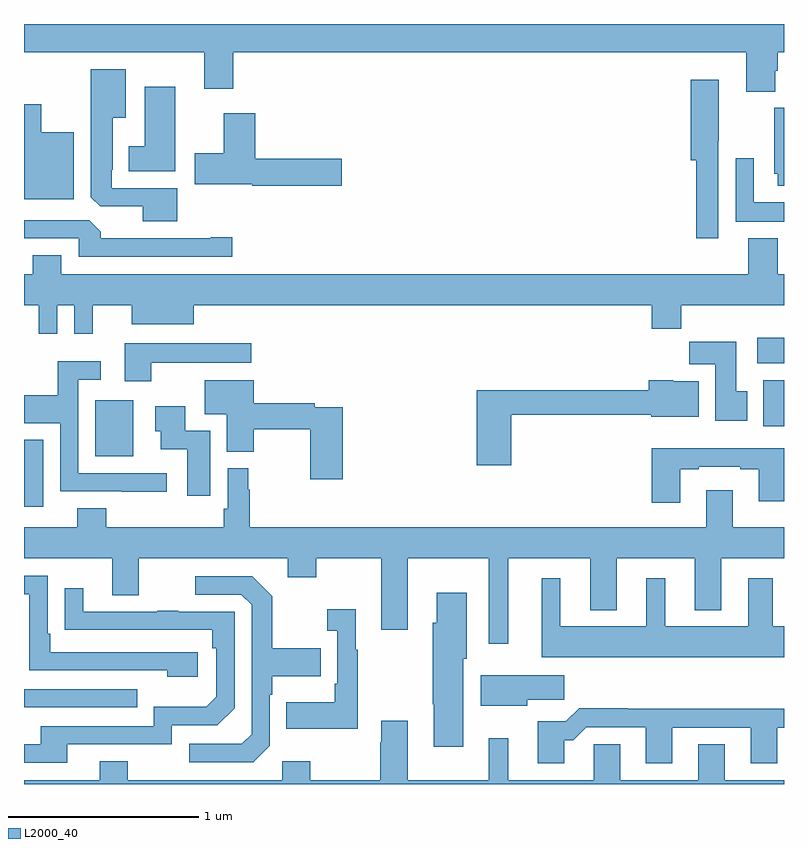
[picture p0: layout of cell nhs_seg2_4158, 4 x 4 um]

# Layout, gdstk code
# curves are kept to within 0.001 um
import gdstk
lib = gdstk.Library(unit=1e-6, precision=1e-09)
def R(c, l, rs):  # rectangles x0, y0, x1, y1
    for r in rs: c.add(gdstk.rectangle(r[:2], r[2:], *l))
def P(c, l, *ps):  # polygons
    for p in ps: c.add(gdstk.Polygon(p, *l))
L2000_40 = (2000, 40)

nhs_seg2_4158 = lib.new_cell('nhs_seg2_4158')
R(nhs_seg2_4158, L2000_40, [(335,628.203,335.597,628.299), (335,629.259,335.101,629.611), (335.375,629.525,335.575,629.821), (338.891,629.684,339,629.926), (338.859,630.014,339,630.148)])
P(nhs_seg2_4158, L2000_40, [(338.953,631.553),(338.966,631.553),(338.966,631.652),(339,631.652),(339,631.8),(335,631.8),(335,631.652),(335.948,631.652),(335.948,631.458),(336.101,631.458),(336.101,631.652),(338.801,631.652),(338.801,631.444),(338.953,631.444)],
  [(335.807,630.936),(335.463,630.936),(335.463,631.033),(335.467,631.033),(335.467,631.307),(335.536,631.307),(335.536,631.561),(335.351,631.561),(335.351,630.889),(335.4,630.84),(335.624,630.84),(335.624,630.761),(335.807,630.761)],
  [(338.655,631.186),(338.656,631.186),(338.656,631.507),(338.51,631.507),(338.51,631.082),(338.539,631.082),(338.539,630.672),(338.655,630.672)],
  [(335.797,631.471),(335.636,631.471),(335.636,631.156),(335.552,631.156),(335.552,631.025),(335.797,631.025)],
  [(335.263,631.231),(335.092,631.231),(335.092,631.378),(335,631.378),(335,630.878),(335.263,630.878)],
  [(339,631.359),(338.948,631.359),(338.948,631.011),(338.966,631.011),(338.966,630.948),(339,630.948)],
  [(336.673,631.091),(336.218,631.091),(336.218,631.33),(336.05,631.33),(336.05,631.119),(335.898,631.119),(335.898,630.956),(336.201,630.956),(336.201,630.949),(336.673,630.949)],
  [(339,630.862),(338.841,630.862),(338.841,631.093),(338.745,631.093),(338.745,630.758),(339,630.758)],
  [(336.097,630.677),(335.984,630.677),(335.984,630.672),(335.405,630.672),(335.405,630.706),(335.343,630.768),(335,630.768),(335,630.672),(335.289,630.672),(335.289,630.576),(336.097,630.576)],
  [(335.045,630.484),(335,630.484),(335,630.32),(335.078,630.32),(335.078,630.171),(335.175,630.171),(335.175,630.32),(335.265,630.32),(335.265,630.171),(335.363,630.171),(335.363,630.32),(335.567,630.32),(335.567,630.221),(335.893,630.221),(335.893,630.32),(338.303,630.32),(338.303,630.196),(338.459,630.196),(338.459,630.32),(339,630.32),(339,630.484),(338.966,630.484),(338.966,630.673),(338.813,630.673),(338.813,630.484),(335.197,630.484),(335.197,630.583),(335.045,630.583)],
  [(338.806,629.868),(338.749,629.868),(338.749,630.127),(338.5,630.127),(338.5,630.008),(338.639,630.008),(338.639,629.712),(338.806,629.712)],
  [(335.671,630.017),(336.196,630.017),(336.196,630.121),(335.531,630.121),(335.531,629.919),(335.671,629.919)],
  [(335.752,629.436),(335.286,629.436),(335.286,629.928),(335.404,629.928),(335.404,630.025),(335.178,630.025),(335.178,629.847),(335,629.847),(335,629.699),(335.19,629.699),(335.19,629.34),(335.515,629.34),(335.515,629.339),(335.752,629.339)],
  [(337.565,629.743),(338.3,629.743),(338.3,629.732),(338.551,629.732),(338.551,629.92),(338.418,629.92),(338.418,629.926),(338.288,629.926),(338.288,629.872),(337.382,629.872),(337.382,629.478),(337.565,629.478)],
  [(336.677,629.784),(336.53,629.784),(336.53,629.804),(336.208,629.804),(336.208,629.926),(335.951,629.926),(335.951,629.747),(336.068,629.747),(336.068,629.55),(336.208,629.55),(336.208,629.668),(336.506,629.668),(336.506,629.403),(336.677,629.403)],
  [(335.98,629.658),(335.848,629.658),(335.848,629.788),(335.69,629.788),(335.69,629.657),(335.72,629.657),(335.72,629.562),(335.858,629.562),(335.858,629.316),(335.98,629.316)],
  [(338.455,629.457),(338.551,629.457),(338.551,629.469),(338.771,629.469),(338.771,629.457),(338.867,629.457),(338.867,629.288),(339,629.288),(339,629.566),(338.303,629.566),(338.303,629.28),(338.455,629.28)],
  [(337.549,628.988),(337.979,628.988),(337.979,628.715),(338.119,628.715),(338.119,628.988),(338.531,628.988),(338.531,628.715),(338.671,628.715),(338.671,628.988),(339,628.988),(339,629.152),(338.731,629.152),(338.731,629.347),(338.591,629.347),(338.591,629.152),(336.188,629.152),(336.188,629.348),(336.181,629.348),(336.181,629.461),(336.072,629.461),(336.072,629.248),(336.052,629.248),(336.052,629.152),(335.432,629.152),(335.432,629.251),(335.279,629.251),(335.279,629.152),(335,629.152),(335,628.988),(335.465,628.988),(335.465,628.794),(335.605,628.794),(335.605,628.988),(336.389,628.988),(336.389,628.889),(336.537,628.889),(336.537,628.988),(336.881,628.988),(336.881,628.611),(337.021,628.611),(337.021,628.988),(337.445,628.988),(337.445,628.539),(337.549,628.539)],
  [(335.914,628.494),(335.137,628.494),(335.137,628.591),(335.124,628.591),(335.124,628.896),(335,628.896),(335,628.8),(335.028,628.8),(335.028,628.398),(335.753,628.398),(335.753,628.364),(335.914,628.364)],
  [(336.294,628.002),(336.294,628.271),(336.307,628.271),(336.307,628.367),(336.563,628.367),(336.563,628.515),(336.307,628.515),(336.307,628.787),(336.201,628.893),(335.901,628.893),(335.901,628.797),(336.144,628.797),(336.198,628.743),(336.198,628.062),(336.147,628.011),(335.871,628.011),(335.871,627.915),(336.207,627.915)],
  [(339,628.63),(338.941,628.63),(338.941,628.882),(338.813,628.882),(338.813,628.63),(338.374,628.63),(338.374,628.882),(338.276,628.882),(338.276,628.63),(337.822,628.63),(337.822,628.882),(337.724,628.882),(337.724,628.466),(339,628.466)],
  [(335.227,628.008),(335.778,628.008),(335.778,628.11),(336.018,628.11),(336.108,628.2),(336.108,628.707),(335.813,628.707),(335.813,628.712),(335.701,628.712),(335.701,628.707),(335.311,628.707),(335.311,628.831),(335.215,628.831),(335.215,628.612),(335.992,628.611),(335.992,628.514),(336.012,628.514),(336.012,628.26),(335.959,628.207),(335.682,628.207),(335.682,628.104),(335.087,628.104),(335.087,628.008),(335,628.008),(335,627.912),(335.227,627.912)],
  [(337.312,628.458),(337.33,628.458),(337.33,628.807),(337.172,628.807),(337.172,628.65),(337.15,628.65),(337.15,628.219),(337.157,628.219),(337.157,627.996),(337.312,627.996)],
  [(336.757,628.507),(336.745,628.507),(336.745,628.72),(336.597,628.72),(336.597,628.607),(336.648,628.607),(336.648,628.327),(336.636,628.327),(336.636,628.231),(336.379,628.231),(336.379,628.091),(336.757,628.091)],
  [(337.648,628.243),(337.843,628.243),(337.843,628.372),(337.404,628.372),(337.404,628.211),(337.648,628.211)],
  [(337.843,628.031),(337.892,628.031),(337.959,628.098),(338.273,628.098),(338.273,627.909),(338.413,627.909),(338.413,628.095),(338.825,628.095),(338.825,627.909),(338.965,627.909),(338.965,628.095),(339,628.095),(339,628.196),(338.177,628.196),(338.177,628.199),(337.922,628.199),(337.852,628.129),(337.703,628.129),(337.703,627.909),(337.843,627.909)],
  [(339,627.82),(338.689,627.82),(338.689,628.01),(338.549,628.01),(338.549,627.82),(338.137,627.82),(338.137,628.01),(337.998,628.01),(337.998,627.82),(337.549,627.82),(337.549,628.042),(337.445,628.042),(337.445,627.82),(337.021,627.82),(337.021,628.132),(336.881,628.132),(336.881,628.019),(336.874,628.019),(336.874,627.82),(336.507,627.82),(336.507,627.919),(336.36,627.919),(336.36,627.82),(335.547,627.82),(335.547,627.919),(335.399,627.919),(335.399,627.82),(335,627.82),(335,627.8),(339,627.8)])

lib.write_gds('nhs_seg2_4158.gds')
